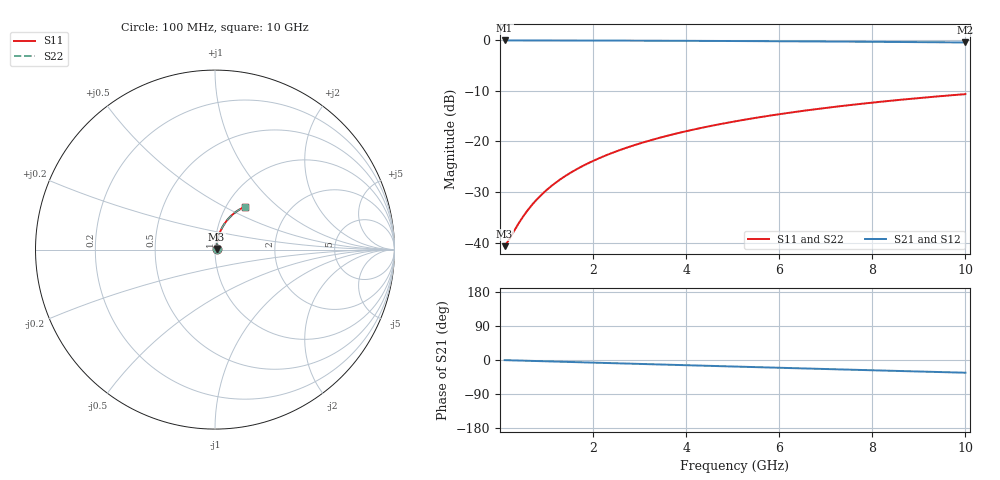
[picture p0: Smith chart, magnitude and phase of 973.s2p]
# Hz S RI R 50.00
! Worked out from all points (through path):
!   100 points, 100 MHz to 10 GHz, reference 50 ohm
!   highest |S21| = -0.08 dB at 100 MHz (marker M1); lowest = -0.5 dB at 10 GHz (marker M2)
!   group delay of S21, straight-line fit = 9.34 ps
!   lowest |S11| = -40.6 dB at 100 MHz (marker M3), VSWR 1.02, Z = 50.9 + j0.32 ohm
!   |S11| at or under -10 dB: start of sweep to end of sweep
!   |S22| runs from -40.6 to -10.7 dB; largest |S21 - S12| = 0
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1e8  0.00874 0.00314  0.9913 -0.00597  0.9913 -0.00597  0.00874 0.00314
2e8  0.00885 0.00628  0.9911 -0.0119  0.9911 -0.0119  0.00885 0.00628
4e8  0.00915 0.0126  0.9908 -0.0239  0.9908 -0.0239  0.00915 0.0126
5e8  0.00935 0.0157  0.9905 -0.0298  0.9905 -0.0298  0.00935 0.0157
6e8  0.00959 0.0188  0.9903 -0.0358  0.9903 -0.0358  0.00959 0.0188
7e8  0.00985 0.022  0.9899 -0.0417  0.9899 -0.0417  0.00985 0.022
8e8  0.0102 0.0251  0.9896 -0.0477  0.9896 -0.0477  0.0102 0.0251
1e9  0.0109 0.0313  0.9887 -0.0596  0.9887 -0.0596  0.0109 0.0313
1.2e9  0.0117 0.0375  0.9877 -0.0715  0.9877 -0.0715  0.0117 0.0375
1.5e9  0.0133 0.0468  0.9858 -0.0892  0.9858 -0.0892  0.0133 0.0468
1.8e9  0.0152 0.056  0.9835 -0.1069  0.9835 -0.1069  0.0152 0.056
2.1e9  0.0174 0.0651  0.9808 -0.1245  0.9808 -0.1245  0.0174 0.0651
2.5e9  0.0209 0.0771  0.9765 -0.1479  0.9765 -0.1479  0.0209 0.0771
2.9e9  0.0249 0.0889  0.9716 -0.171  0.9716 -0.171  0.0249 0.0889
3.4e9  0.0307 0.1034  0.9646 -0.1996  0.9646 -0.1996  0.0307 0.1034
4.2e9  0.0417 0.1256  0.9511 -0.2445  0.9511 -0.2445  0.0417 0.1256
5.1e9  0.0564 0.149  0.9329 -0.2935  0.9329 -0.2935  0.0564 0.149
5.9e9  0.0714 0.1683  0.9143 -0.3355  0.9143 -0.3355  0.0714 0.1683
6.7e9  0.088 0.186  0.8936 -0.3759  0.8936 -0.3759  0.088 0.186
7.5e9  0.106 0.2019  0.8708 -0.4146  0.8708 -0.4146  0.106 0.2019
8.4e9  0.1277 0.2176  0.8432 -0.456  0.8432 -0.456  0.1277 0.2176
1e10  0.1691 0.2393  0.7893 -0.5235  0.7893 -0.5235  0.1691 0.2393
